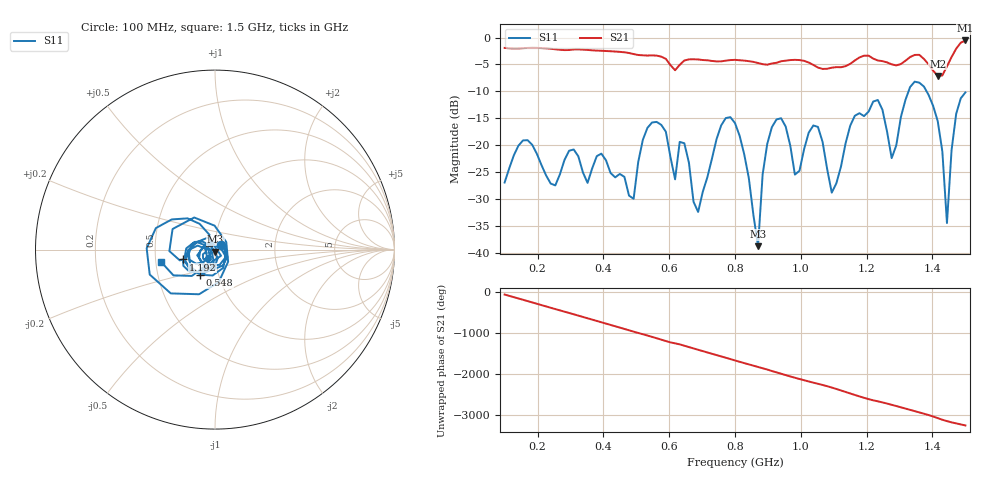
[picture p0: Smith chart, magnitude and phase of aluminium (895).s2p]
! NanoVNA-App
! Date: 2025-09-25 15:02:15
! Start: 100MHz Stop: 1,5GHz Points: 101
! S-Parameter data: F S11 S21 S12 S22
# Hz S RI R 50
!  Frequency  S11_Real  S11_Imag  S21_Real  S21_Imag  S12_Real  S12_Imag  S22_Real  S22_Imag
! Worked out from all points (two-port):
!   101 points, 100 MHz to 1.5 GHz, reference 50 ohm
!   highest |S21| = -0.53 dB at 1.5 GHz (marker M1); lowest = -7.1 dB at 1.416 GHz (marker M2)
!   |S21| within 3 dB of the highest: start of sweep to 575.2 MHz; 1.459 GHz to end of sweep (the widest 2 of 4)
!   lowest |S11| = -38.8 dB at 870 MHz (marker M3), VSWR 1.02, Z = 50.2 - j1.13 ohm
!   |S11| at or under -10 dB: start of sweep to 1.327 GHz; 1.382 GHz to end of sweep
!   S12 and S22 are empty: the file has one direction only
!   S11 on the Smith chart (normalised r, x): 100 MHz: 1.07, +0.06; 548 MHz: 0.82, -0.24; 1.192 GHz: 0.69, -0.08; 1.5 GHz: 0.53, -0.08
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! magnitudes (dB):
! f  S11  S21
! 100 MHz  -27.0  -1.9
! 156 MHz  -19.1  -2.0
! 338 MHz  -25.1  -2.2
! 492 MHz  -30.0  -3.1
! 548 MHz  -15.8  -3.3
! 576 MHz  -16.2  -3.5
! 646 MHz  -19.6  -4.3
! 688 MHz  -32.4  -4.1
! 800 MHz  -15.9  -4.1
! 870 MHz  -38.8  -4.7
! 912 MHz  -16.7  -4.8
! 982 MHz  -25.5  -4.1
! 1.038 GHz  -16.3  -5.1
! 1.094 GHz  -28.8  -5.6
! 1.192 GHz  -14.6  -3.4
! 1.234 GHz  -11.6  -4.3
! 1.276 GHz  -22.4  -5.0
! 1.346 GHz  -8.2  -3.2
! 1.416 GHz  -15.5  -7.1
! 1.444 GHz  -34.5  -5.4
! 1.472 GHz  -14.2  -2.1
! 1.5 GHz  -10.2  -0.5
